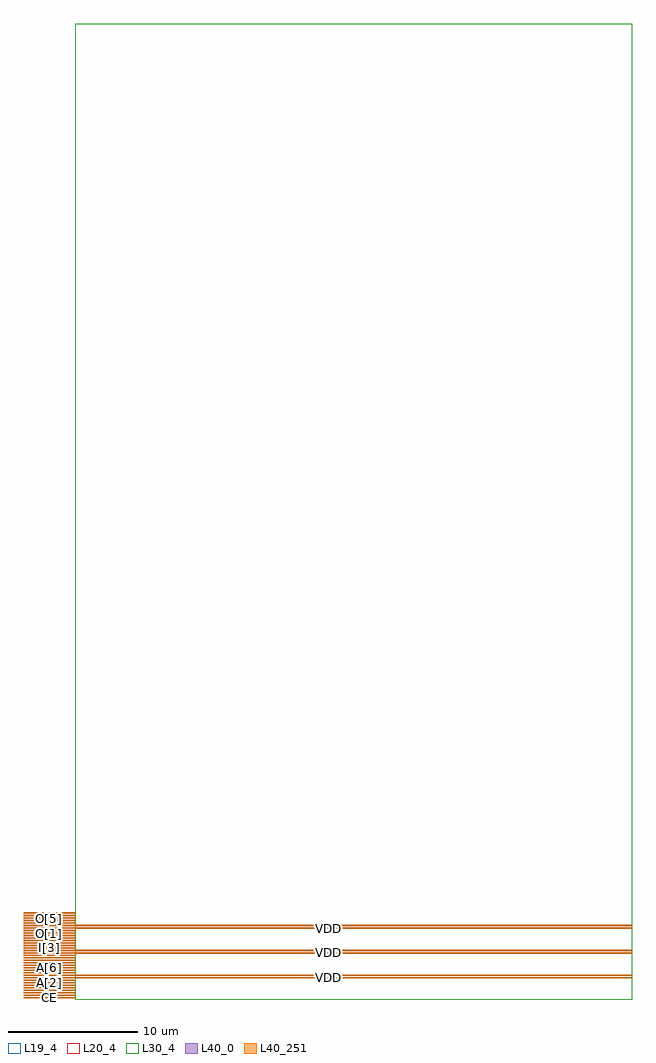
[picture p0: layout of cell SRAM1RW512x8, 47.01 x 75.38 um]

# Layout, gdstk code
import gdstk
lib = gdstk.Library(unit=1e-6, precision=1e-09)
def R(c, l, rs):  # rectangles x0, y0, x1, y1
    for r in rs: c.add(gdstk.rectangle(r[:2], r[2:], *l))
def A(c, l, x, y, w, h, nx, ny, dx, dy):  # array of equal rectangles
    R(c, l, [(x+i*dx, y+j*dy, x+i*dx+w, y+j*dy+h) for i in range(nx) for j in range(ny)])
L19_4 = (19, 4)
L20_4 = (20, 4)
L30_4 = (30, 4)
L40_0 = (40, 0)
L40_251 = (40, 251)

sram1rw512x8 = lib.new_cell('SRAM1RW512x8')
R(sram1rw512x8, L19_4, [(4,0,47.008,75.38)])
R(sram1rw512x8, L20_4, [(4,0,47.008,75.38)])
R(sram1rw512x8, L30_4, [(4,0,47.008,75.38)])
A(sram1rw512x8, L40_0, 0, 0.096, 4, 0.096, 1, 8, 0, 0.192)
A(sram1rw512x8, L40_0, 0, 2.016, 4, 0.096, 1, 8, 0, 0.192)
A(sram1rw512x8, L40_0, 0, 3.936, 4, 0.096, 1, 8, 0, 0.192)
A(sram1rw512x8, L40_0, 0, 5.856, 4, 0.096, 1, 5, 0, 0.192)
R(sram1rw512x8, L40_0, [(0,1.632,47.008,1.728), (0,1.824,47.008,1.92), (0,3.552,47.008,3.648), (0,3.744,47.008,3.84), (0,5.472,47.008,5.568), (0,5.664,47.008,5.76)])
A(sram1rw512x8, L40_251, 0, 0.096, 4, 0.096, 1, 8, 0, 0.192)
A(sram1rw512x8, L40_251, 0, 2.016, 4, 0.096, 1, 8, 0, 0.192)
A(sram1rw512x8, L40_251, 0, 3.936, 4, 0.096, 1, 8, 0, 0.192)
A(sram1rw512x8, L40_251, 0, 5.856, 4, 0.096, 1, 5, 0, 0.192)
R(sram1rw512x8, L40_251, [(0,1.632,47.008,1.728), (0,1.824,47.008,1.92), (0,3.552,47.008,3.648), (0,3.744,47.008,3.84), (0,5.472,47.008,5.568), (0,5.664,47.008,5.76)])
sram1rw512x8.add(gdstk.Label('CE', (2,0.144), layer=40, texttype=0))
sram1rw512x8.add(gdstk.Label('WEB', (2,0.336), layer=40, texttype=0))
sram1rw512x8.add(gdstk.Label('OEB', (2,0.528), layer=40, texttype=0))
sram1rw512x8.add(gdstk.Label('CSB', (2,0.72), layer=40, texttype=0))
sram1rw512x8.add(gdstk.Label('A[0]', (2,0.912), layer=40, texttype=0))
sram1rw512x8.add(gdstk.Label('A[1]', (2,1.104), layer=40, texttype=0))
sram1rw512x8.add(gdstk.Label('A[2]', (2,1.296), layer=40, texttype=0))
sram1rw512x8.add(gdstk.Label('A[3]', (2,1.488), layer=40, texttype=0))
sram1rw512x8.add(gdstk.Label('A[4]', (2,2.064), layer=40, texttype=0))
sram1rw512x8.add(gdstk.Label('A[5]', (2,2.256), layer=40, texttype=0))
sram1rw512x8.add(gdstk.Label('A[6]', (2,2.448), layer=40, texttype=0))
sram1rw512x8.add(gdstk.Label('A[7]', (2,2.64), layer=40, texttype=0))
sram1rw512x8.add(gdstk.Label('A[8]', (2,2.832), layer=40, texttype=0))
sram1rw512x8.add(gdstk.Label('I[0]', (2,3.024), layer=40, texttype=0))
sram1rw512x8.add(gdstk.Label('I[1]', (2,3.216), layer=40, texttype=0))
sram1rw512x8.add(gdstk.Label('I[2]', (2,3.408), layer=40, texttype=0))
sram1rw512x8.add(gdstk.Label('I[3]', (2,3.984), layer=40, texttype=0))
sram1rw512x8.add(gdstk.Label('I[4]', (2,4.176), layer=40, texttype=0))
sram1rw512x8.add(gdstk.Label('I[5]', (2,4.368), layer=40, texttype=0))
sram1rw512x8.add(gdstk.Label('I[6]', (2,4.56), layer=40, texttype=0))
sram1rw512x8.add(gdstk.Label('I[7]', (2,4.752), layer=40, texttype=0))
sram1rw512x8.add(gdstk.Label('O[0]', (2,4.944), layer=40, texttype=0))
sram1rw512x8.add(gdstk.Label('O[1]', (2,5.136), layer=40, texttype=0))
sram1rw512x8.add(gdstk.Label('O[2]', (2,5.328), layer=40, texttype=0))
sram1rw512x8.add(gdstk.Label('O[3]', (2,5.904), layer=40, texttype=0))
sram1rw512x8.add(gdstk.Label('O[4]', (2,6.096), layer=40, texttype=0))
sram1rw512x8.add(gdstk.Label('O[5]', (2,6.288), layer=40, texttype=0))
sram1rw512x8.add(gdstk.Label('O[6]', (2,6.48), layer=40, texttype=0))
sram1rw512x8.add(gdstk.Label('O[7]', (2,6.672), layer=40, texttype=0))
sram1rw512x8.add(gdstk.Label('VDD', (23.504,1.68), layer=40, texttype=0))
sram1rw512x8.add(gdstk.Label('VDD', (23.504,3.6), layer=40, texttype=0))
sram1rw512x8.add(gdstk.Label('VDD', (23.504,5.52), layer=40, texttype=0))
sram1rw512x8.add(gdstk.Label('VSS', (23.504,1.872), layer=40, texttype=0))
sram1rw512x8.add(gdstk.Label('VSS', (23.504,3.792), layer=40, texttype=0))
sram1rw512x8.add(gdstk.Label('VSS', (23.504,5.712), layer=40, texttype=0))

lib.write_gds('SRAM1RW512x8.gds')
